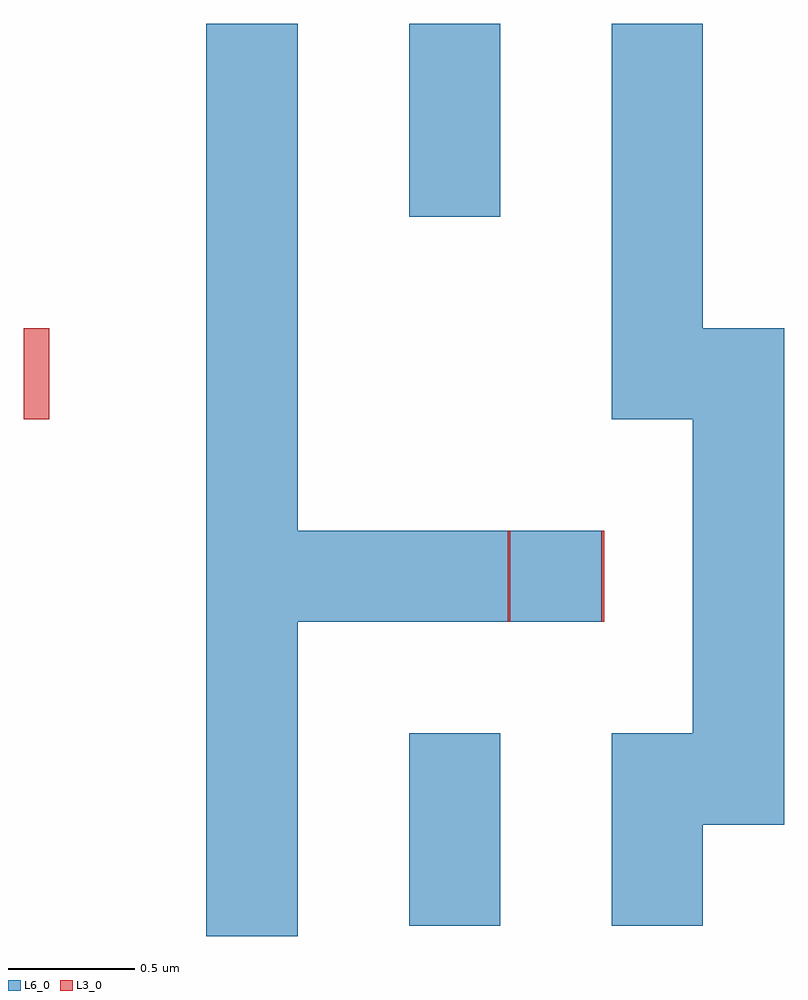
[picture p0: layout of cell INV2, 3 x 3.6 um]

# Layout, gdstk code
import gdstk
lib = gdstk.Library(unit=1e-6, precision=1e-09)
def R(c, l, rs):  # rectangles x0, y0, x1, y1
    for r in rs: c.add(gdstk.rectangle(r[:2], r[2:], *l))
def P(c, l, *ps):  # polygons
    for p in ps: c.add(gdstk.Polygon(p, *l))
L3_0 = (3, 0)
L6_0 = (6, 0)

trans = lib.new_cell('TRANS')
R(trans, L6_0, [(-0.58,-0.38,-0.22,0.38), (0.22,-0.38,0.58,0.38)])

inv2 = lib.new_cell('INV2')
R(inv2, L3_0, [(0.21,0.82,0.22,1.18), (0.58,0.82,0.59,1.18), (-1.7,1.62,-1.6,1.98)])
R(inv2, L6_0, [(-0.98,-0.42,-0.62,2.42), (-0.8,0.82,0.58,1.18)])
P(inv2, L6_0, [(0.8,0.02),(0.8,0.38),(0.94,0.38),(0.94,1.62),(0.62,1.62),(0.62,2.42),(0.98,2.42),(0.98,1.98),(1.3,1.98),(1.3,0.02)])
inv2.add(gdstk.Reference(trans, (-0.4,0)))
inv2.add(gdstk.Reference(trans, (-0.4,2.8)))
inv2.add(gdstk.Reference(trans, (0.4,0), x_reflection=True))
inv2.add(gdstk.Reference(trans, (0.4,2.8), x_reflection=True))

lib.write_gds('INV2.gds')
